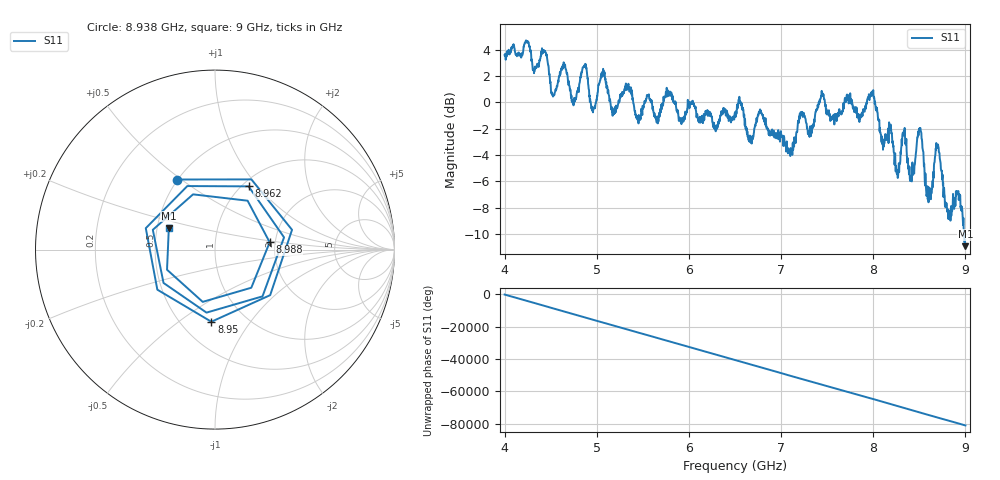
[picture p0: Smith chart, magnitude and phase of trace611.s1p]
! Created with skrf 1.8.0 (http://scikit-rf.org).
# Hz S RI R 50.0
!freq ReS11 ImS11
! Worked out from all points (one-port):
!   1601 points, 4 GHz to 9 GHz, reference 50 ohm
!   lowest |S11| = -10.9 dB at 9 GHz (marker M1), VSWR 1.79, Z = 28.8 + j7.54 ohm
!   |S11| at or under -10 dB: 8.986201 GHz to end of sweep
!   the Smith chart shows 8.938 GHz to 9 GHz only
!   S11 on the Smith chart (normalised r, x): 8.938 GHz: 0.50, +0.48; 8.95 GHz: 0.70, -0.67; 8.962 GHz: 1.07, +0.90; 8.988 GHz: 1.87, +0.17; 9 GHz: 0.58, +0.15
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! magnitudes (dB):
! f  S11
! 4 GHz  3.6
! 4.428 GHz  3.9
! 4.528 GHz  0.6
! 4.625 GHz  2.5
! 4.747 GHz  -0.2
! 4.866 GHz  2.7
! 4.956 GHz  -0.5
! 5.062 GHz  1.9
! 5.25 GHz  0.2
! 5.875 GHz  -0.8
! 6.5 GHz  -0.7
! 7.125 GHz  -3.2
! 7.441 GHz  0.9
! 7.75 GHz  0.7
! 7.988 GHz  0.6
! 8.256 GHz  -5.4
! 8.334 GHz  -2.2
! 8.375 GHz  -4.6
! 8.422 GHz  -5.4
! 8.503 GHz  -2.0
! 8.6 GHz  -7.6
! 8.697 GHz  -3.3
! 8.812 GHz  -8.1
! 8.938 GHz  -7.1
! 8.95 GHz  -7.9
! 8.962 GHz  -8.0
! 8.988 GHz  -10.2
! 9 GHz  -10.9
